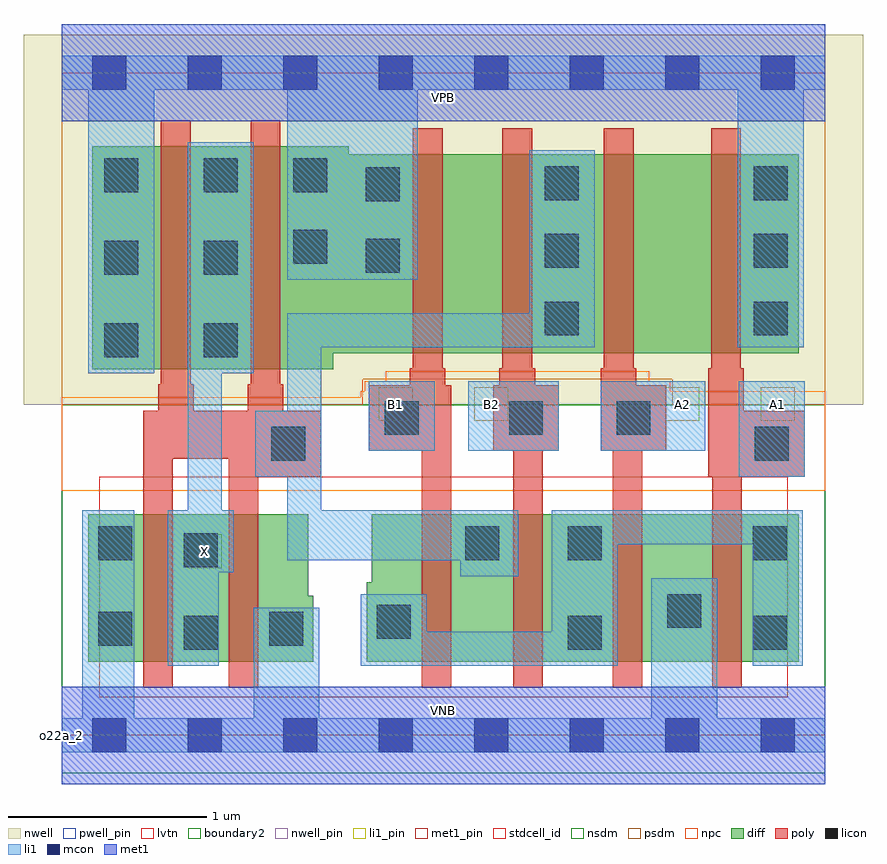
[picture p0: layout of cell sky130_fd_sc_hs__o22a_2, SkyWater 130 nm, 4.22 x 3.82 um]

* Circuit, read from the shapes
.subckt sky130_fd_sc_hs__o22a_2 A1 A2 B1 B2 VGND VNB VPB VPWR X
XM1 X n1 VGND VNB sky130_fd_pr__nfet_01v8_lvt w=0.74 l=0.15 m=2
XM2 n1 B1 n2 VNB sky130_fd_pr__nfet_01v8_lvt w=0.74 l=0.15
XM3 n2 B2 n1 VNB sky130_fd_pr__nfet_01v8_lvt w=0.74 l=0.15
XM4 VGND A2 n2 VNB sky130_fd_pr__nfet_01v8_lvt w=0.74 l=0.15
XM5 n2 A1 VGND VNB sky130_fd_pr__nfet_01v8_lvt w=0.74 l=0.15
XM6 X n1 VPWR VPB sky130_fd_pr__pfet_01v8 w=1.12 l=0.15 m=2
XM7 n3 B1 VPWR VPB sky130_fd_pr__pfet_01v8 w=1 l=0.15
XM8 n1 B2 n3 VPB sky130_fd_pr__pfet_01v8 w=1 l=0.15
XM9 n4 A2 n1 VPB sky130_fd_pr__pfet_01v8 w=1 l=0.15
XM10 VPWR A1 n4 VPB sky130_fd_pr__pfet_01v8 w=1 l=0.15
.ends

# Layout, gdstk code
import gdstk
lib = gdstk.Library(unit=1e-6, precision=1e-09)
def R(c, l, rs):  # rectangles x0, y0, x1, y1
    for r in rs: c.add(gdstk.rectangle(r[:2], r[2:], *l))
def A(c, l, x, y, w, h, nx, ny, dx, dy):  # array of equal rectangles
    R(c, l, [(x+i*dx, y+j*dy, x+i*dx+w, y+j*dy+h) for i in range(nx) for j in range(ny)])
def P(c, l, *ps):  # polygons
    for p in ps: c.add(gdstk.Polygon(p, *l))
nwell_pin = (64, 16)
nwell = (64, 20)
diff = (65, 20)
poly = (66, 20)
licon = (66, 44)
li1_pin = (67, 16)
li1 = (67, 20)
mcon = (67, 44)
met1_pin = (68, 16)
met1 = (68, 20)
stdcell_id = (81, 4)
nsdm = (93, 44)
psdm = (94, 20)
npc = (95, 20)
pwell_pin = (122, 16)
lvtn = (125, 44)
boundary2 = (236, 0)

sky130_fd_sc_hs__o22a_2 = lib.new_cell('sky130_fd_sc_hs__o22a_2')
R(sky130_fd_sc_hs__o22a_2, nwell_pin, [(0,3.085,3.84,3.33)])
R(sky130_fd_sc_hs__o22a_2, nwell, [(-0.19,1.66,4.03,3.52)])
P(sky130_fd_sc_hs__o22a_2, diff, [(1.265,0.7),(1.24,0.7),(1.24,1.11),(0.135,1.11),(0.135,0.37),(1.265,0.37)],
  [(3.705,2.92),(1.445,2.92),(1.445,2.96),(0.155,2.96),(0.155,1.84),(1.365,1.84),(1.365,1.92),(3.705,1.92)],
  [(3.705,1.11),(1.56,1.11),(1.56,0.77),(1.535,0.77),(1.535,0.37),(3.705,0.37)])
P(sky130_fd_sc_hs__o22a_2, poly, [(3.735,1.63),(3.43,1.63),(3.43,1.845),(3.415,1.845),(3.415,3.05),(3.265,3.05),(3.265,1.845),(3.25,1.845),(3.25,1.3),(3.27,1.3),(3.27,0.24),(3.42,0.24),(3.42,1.3),(3.735,1.3)],
  [(3.04,1.76),(2.89,1.76),(2.89,1.845),(2.875,1.845),(2.875,3.05),(2.725,3.05),(2.725,1.845),(2.71,1.845),(2.71,1.43),(2.77,1.43),(2.77,0.24),(2.92,0.24),(2.92,1.43),(3.04,1.43)],
  [(2.5,1.76),(2.38,1.76),(2.38,1.845),(2.365,1.845),(2.365,3.05),(2.215,3.05),(2.215,1.845),(2.2,1.845),(2.2,1.76),(2.17,1.76),(2.17,1.43),(2.27,1.43),(2.27,0.24),(2.42,0.24),(2.42,1.43),(2.5,1.43)],
  [(1.96,1.76),(1.93,1.76),(1.93,1.845),(1.915,1.845),(1.915,3.05),(1.765,3.05),(1.765,1.845),(1.75,1.845),(1.75,1.76),(1.545,1.76),(1.545,1.43),(1.81,1.43),(1.81,0.24),(1.96,0.24)],
  [(1.305,1.63),(1.115,1.63),(1.115,1.765),(1.1,1.765),(1.1,3.09),(0.95,3.09),(0.95,1.765),(0.935,1.765),(0.935,1.63),(0.665,1.63),(0.665,1.765),(0.65,1.765),(0.65,3.09),(0.5,3.09),(0.5,1.765),(0.485,1.765),(0.485,1.63),(0.41,1.63),(0.41,0.24),(0.56,0.24),(0.56,1.39),(0.84,1.39),(0.84,0.24),(0.99,0.24),(0.99,1.3),(1.305,1.3)])
A(sky130_fd_sc_hs__o22a_2, licon, 0.215, 1.9, 0.17, 0.17, 1, 3, 0, 0.415)
A(sky130_fd_sc_hs__o22a_2, licon, 0.715, 1.9, 0.17, 0.17, 1, 3, 0, 0.415)
A(sky130_fd_sc_hs__o22a_2, licon, 2.43, 2.01, 0.17, 0.17, 1, 3, 0, 0.34)
A(sky130_fd_sc_hs__o22a_2, licon, 3.48, 2.01, 0.17, 0.17, 1, 3, 0, 0.34)
R(sky130_fd_sc_hs__o22a_2, licon, [(0.615,0.43,0.785,0.6), (2.545,0.43,2.715,0.6), (3.475,0.43,3.645,0.6), (0.185,0.45,0.355,0.62), (1.045,0.45,1.215,0.62), (1.585,0.485,1.755,0.655), (3.045,0.54,3.215,0.71), (0.615,0.845,0.785,1.015), (0.185,0.88,0.355,1.05), (2.03,0.88,2.2,1.05), (2.545,0.88,2.715,1.05), (3.475,0.88,3.645,1.05), (1.055,1.38,1.225,1.55), (3.485,1.38,3.655,1.55), (1.625,1.51,1.795,1.68), (2.25,1.51,2.42,1.68), (2.79,1.51,2.96,1.68), (1.53,2.325,1.7,2.495), (1.165,2.37,1.335,2.54), (1.53,2.685,1.7,2.855), (1.165,2.73,1.335,2.9)])
R(sky130_fd_sc_hs__o22a_2, li1_pin, [(0.635,0.84,0.805,1.01), (1.595,1.58,1.765,1.75), (2.075,1.58,2.245,1.75), (3.035,1.58,3.205,1.75), (3.515,1.58,3.685,1.75)])
R(sky130_fd_sc_hs__o22a_2, li1, [(3.405,1.3,3.735,1.78), (1.545,1.43,1.875,1.78), (2.045,1.43,2.5,1.78), (2.71,1.43,3.235,1.78)])
P(sky130_fd_sc_hs__o22a_2, li1, [(3.4,1.95),(3.4,3.245),(1.79,3.245),(1.79,2.29),(1.135,2.29),(1.135,3.245),(0.465,3.245),(0.465,1.82),(0.135,1.82),(0.135,3.245),(0,3.245),(0,3.415),(3.84,3.415),(3.84,3.245),(3.73,3.245),(3.73,1.95)],
  [(0.105,0.085),(0.105,1.13),(0.365,1.13),(0.365,0.085),(0.965,0.085),(0.965,0.64),(1.295,0.64),(1.295,0.085),(2.965,0.085),(2.965,0.79),(3.295,0.79),(3.295,0.085),(3.84,0.085),(3.84,-0.085),(0,-0.085),(0,0.085)],
  [(0.965,2.98),(0.635,2.98),(0.635,1.13),(0.535,1.13),(0.535,0.35),(0.79,0.35),(0.79,0.82),(0.865,0.82),(0.865,1.13),(0.805,1.13),(0.805,1.82),(0.965,1.82)],
  [(2.68,2.94),(2.35,2.94),(2.35,2.12),(1.135,2.12),(1.135,1.63),(0.975,1.63),(0.975,1.3),(1.135,1.3),(1.135,0.88),(2.005,0.88),(2.005,0.8),(2.295,0.8),(2.295,1.13),(1.305,1.13),(1.305,1.95),(2.68,1.95)],
  [(2.465,0.52),(2.465,1.13),(3.725,1.13),(3.725,0.35),(3.475,0.35),(3.475,0.96),(2.795,0.96),(2.795,0.35),(1.505,0.35),(1.505,0.71),(1.835,0.71),(1.835,0.52)])
A(sky130_fd_sc_hs__o22a_2, mcon, 0.155, -0.085, 0.17, 0.17, 8, 2, 0.48, 3.33)
R(sky130_fd_sc_hs__o22a_2, met1_pin, [(0,0,3.84,0.245), (0,3.085,3.84,3.33)])
R(sky130_fd_sc_hs__o22a_2, met1, [(0,-0.245,3.84,0.245), (0,3.085,3.84,3.575)])
R(sky130_fd_sc_hs__o22a_2, stdcell_id, [(0,0,3.84,3.33)])
R(sky130_fd_sc_hs__o22a_2, nsdm, [(0,-0.19,3.84,1.66)])
P(sky130_fd_sc_hs__o22a_2, psdm, [(3.84,3.52),(0,3.52),(0,1.66),(1.515,1.66),(1.515,1.79),(3.07,1.79),(3.07,1.66),(3.84,1.66)])
P(sky130_fd_sc_hs__o22a_2, npc, [(3.84,1.73),(3.06,1.73),(3.06,1.78),(2.955,1.78),(2.955,1.83),(1.63,1.83),(1.63,1.78),(1.525,1.78),(1.525,1.73),(1.505,1.73),(1.505,1.7),(0,1.7),(0,1.23),(3.84,1.23)])
R(sky130_fd_sc_hs__o22a_2, pwell_pin, [(0,0,3.84,0.245)])
R(sky130_fd_sc_hs__o22a_2, lvtn, [(0.19,0.19,3.65,1.3)])
R(sky130_fd_sc_hs__o22a_2, boundary2, [(0,0,3.84,3.33)])
sky130_fd_sc_hs__o22a_2.add(gdstk.Label('o22a_2', (0,0), layer=83, texttype=44))
sky130_fd_sc_hs__o22a_2.add(gdstk.Label('VNB', (1.92,0.123), layer=64, texttype=59))
sky130_fd_sc_hs__o22a_2.add(gdstk.Label('VPB', (1.92,3.208), layer=64, texttype=5))
sky130_fd_sc_hs__o22a_2.add(gdstk.Label('VPWR', (1.92,3.208), layer=68, texttype=5))
sky130_fd_sc_hs__o22a_2.add(gdstk.Label('VGND', (1.92,0.123), layer=68, texttype=5))
sky130_fd_sc_hs__o22a_2.add(gdstk.Label('X', (0.72,0.925), layer=67, texttype=5))
sky130_fd_sc_hs__o22a_2.add(gdstk.Label('B2', (2.16,1.665), layer=67, texttype=5))
sky130_fd_sc_hs__o22a_2.add(gdstk.Label('B1', (1.68,1.665), layer=67, texttype=5))
sky130_fd_sc_hs__o22a_2.add(gdstk.Label('A2', (3.12,1.665), layer=67, texttype=5))
sky130_fd_sc_hs__o22a_2.add(gdstk.Label('A1', (3.6,1.665), layer=67, texttype=5))

lib.write_gds('sky130_fd_sc_hs__o22a_2.gds')
